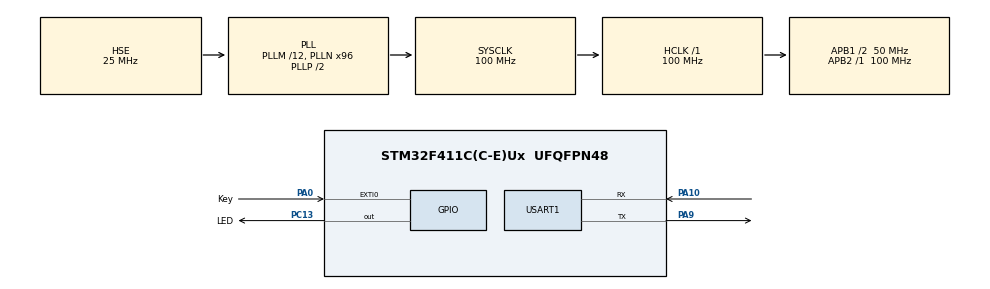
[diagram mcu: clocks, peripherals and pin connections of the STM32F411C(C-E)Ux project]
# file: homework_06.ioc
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FREERTOS.Tasks01=defaultTask,24,128,StartDefaultTask,Default,NULL,Dynamic,NULL,NULL
Mcu.Family=STM32F4
Mcu.Name=STM32F411C(C-E)Ux
Mcu.Package=UFQFPN48
NVIC.EXTI0_IRQn=true\:5\:0\:false\:false\:true\:true\:true\:true\:true
NVIC.PriorityGroup=NVIC_PRIORITYGROUP_4
NVIC.TIM1_UP_TIM10_IRQn=true\:15\:0\:false\:false\:true\:false\:false\:true\:true
NVIC.TIM2_IRQn=true\:5\:0\:false\:false\:true\:true\:true\:true\:true
NVIC.TimeBase=TIM1_UP_TIM10_IRQn
NVIC.TimeBaseIP=TIM1
PA0-WKUP.GPIO_Label=Key
PA0-WKUP.GPIO_ModeDefaultEXTI=GPIO_MODE_IT_FALLING
PA0-WKUP.GPIO_PuPd=GPIO_PULLUP
PA0-WKUP.Signal=GPXTI0
PA10.Mode=Asynchronous
PA10.Signal=USART1_RX
PA13.Mode=Serial_Wire
PA13.Signal=SYS_JTMS-SWDIO
PA14.Mode=Serial_Wire
PA14.Signal=SYS_JTCK-SWCLK
PA9.Mode=Asynchronous
PA9.Signal=USART1_TX
PC13-ANTI_TAMP.GPIO_Label=LED
PC13-ANTI_TAMP.Signal=GPIO_Output
PC14-OSC32_IN.Mode=LSE-External-Oscillator
PC14-OSC32_IN.Signal=RCC_OSC32_IN
PC15-OSC32_OUT.Mode=LSE-External-Oscillator
PC15-OSC32_OUT.Signal=RCC_OSC32_OUT
PH0\ -\ OSC_IN.Mode=HSE-External-Oscillator
PH0\ -\ OSC_IN.Signal=RCC_OSC_IN
PH1\ -\ OSC_OUT.Mode=HSE-External-Oscillator
PH1\ -\ OSC_OUT.Signal=RCC_OSC_OUT
ProjectManager.HeapSize=0x200
ProjectManager.StackSize=0x400
ProjectManager.TargetToolchain=MDK-ARM V5.32
RCC.48MHZClocksFreq_Value=50000000
RCC.AHBFreq_Value=100000000
RCC.APB1CLKDivider=RCC_HCLK_DIV2
RCC.APB1Freq_Value=50000000
RCC.APB1TimFreq_Value=100000000
RCC.APB2Freq_Value=100000000
RCC.APB2TimFreq_Value=100000000
RCC.CortexFreq_Value=100000000
RCC.HCLKFreq_Value=100000000
RCC.HSE_VALUE=25000000
RCC.HSI_VALUE=16000000
RCC.PLLM=12
RCC.PLLN=96
RCC.PLLSourceVirtual=RCC_PLLSOURCE_HSE
RCC.SYSCLKFreq_VALUE=100000000
RCC.SYSCLKSource=RCC_SYSCLKSOURCE_PLLCLK
RCC.VCOOutputFreq_Value=200000000
TIM2.AutoReloadPreload=TIM_AUTORELOAD_PRELOAD_ENABLE
TIM2.Period=1000-1
TIM2.Prescaler=10000-1
USART1.VirtualMode=VM_ASYNC
VP_FREERTOS_VS_CMSIS_V2.Mode=CMSIS_V2
VP_SYS_VS_tim1.Mode=TIM1
VP_TIM2_VS_ClockSourceINT.Mode=Internal
board=custom

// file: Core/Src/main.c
/* USER CODE BEGIN Header */
/**
  ******************************************************************************
  * @file           : main.c
  * @brief          : Main program body
  ******************************************************************************
  * @attention
  *
  * Copyright (c) 2024 STMicroelectronics.
  * All rights reserved.
  *
  * This software is licensed under terms that can be found in the LICENSE file
  * in the root directory of this software component.
  * If no LICENSE file comes with this software, it is provided AS-IS.
  *
  ******************************************************************************
  */
/* USER CODE END Header */
#include "main.h"
#include "cmsis_os.h"

/* USER CODE BEGIN Includes */
#include <stdio.h>
#include "bsp_led.h"
#include "bsp_key_irq.h"
/* USER CODE END Includes */

TIM_HandleTypeDef htim2;

UART_HandleTypeDef huart1;

/* Definitions for defaultTask */
osThreadId_t defaultTaskHandle;
const osThreadAttr_t defaultTask_attributes = {
  .name = "defaultTask",
  .stack_size = 128 * 4,
  .priority = (osPriority_t) osPriorityNormal,
};

void SystemClock_Config(void);
static void MX_GPIO_Init(void);
static void MX_USART1_UART_Init(void);
static void MX_TIM2_Init(void);
void StartDefaultTask(void *argument);

/* USER CODE BEGIN PFP */
 #ifdef __GNUC__
     #define PUTCHAR_PROTOTYPE int _io_putchar(int ch)
 #else
     #define PUTCHAR_PROTOTYPE int fputc(int ch, FILE *f)
 #endif /* __GNUC__*/

 /******************************************************************
     *@brief  Retargets the C library printf  function to the USART.
     *@param  None
     *@retval None
 ******************************************************************/
 PUTCHAR_PROTOTYPE
 {

     HAL_UART_Transmit(&huart1, (uint8_t *)&ch,1,0xFFFF);

     return ch;
 }

/**
  * @brief  key thread function
  * @param  void * argument
  * @retval void
*/

/* USER CODE END PFP */

int main(void)
{

  /* MCU Configuration--------------------------------------------------------*/

  /* Reset of all peripherals, Initializes the Flash interface and the Systick. */
  HAL_Init();

  /* Configure the system clock */
  SystemClock_Config();

  /* Initialize all configured peripherals */
  MX_GPIO_Init();
  MX_USART1_UART_Init();
  MX_TIM2_Init();
  /* USER CODE BEGIN 2 */
	HAL_TIM_Base_Start_IT(&htim2);
  /* USER CODE END 2 */

  /* Init scheduler */
  osKernelInitialize();

  /* Create the thread(s) */
  /* creation of defaultTask */
  defaultTaskHandle = osThreadNew(StartDefaultTask, NULL, &defaultTask_attributes);

  /* USER CODE BEGIN RTOS_THREADS */
  /* add threads, ... */
  key_TaskHandle = osThreadNew(key_task_func, NULL, &key_Task_attributes);
  led_TaskHandle = osThreadNew(led_task_func, NULL, &led_Task_attributes);
  /* USER CODE END RTOS_THREADS */

  /* Start scheduler */
  osKernelStart();

  /* We should never get here as control is now taken by the scheduler */

  /* Infinite loop */
  while (1)
  {

  }
}

void SystemClock_Config(void)
{
  RCC_OscInitTypeDef RCC_OscInitStruct = {0};
  RCC_ClkInitTypeDef RCC_ClkInitStruct = {0};

  /** Configure the main internal regulator output voltage
  */
  __HAL_RCC_PWR_CLK_ENABLE();
  __HAL_PWR_VOLTAGESCALING_CONFIG(PWR_REGULATOR_VOLTAGE_SCALE1);

  /** Initializes the RCC Oscillators according to the specified parameters
  * in the RCC_OscInitTypeDef structure.
  */
  RCC_OscInitStruct.OscillatorType = RCC_OSCILLATORTYPE_HSE;
  RCC_OscInitStruct.HSEState = RCC_HSE_ON;
  RCC_OscInitStruct.PLL.PLLState = RCC_PLL_ON;
  RCC_OscInitStruct.PLL.PLLSource = RCC_PLLSOURCE_HSE;
  RCC_OscInitStruct.PLL.PLLM = 12;
  RCC_OscInitStruct.PLL.PLLN = 96;
  RCC_OscInitStruct.PLL.PLLP = RCC_PLLP_DIV2;
  RCC_OscInitStruct.PLL.PLLQ = 4;
  if (HAL_RCC_OscConfig(&RCC_OscInitStruct) != HAL_OK)
  {
    Error_Handler();
  }

  /** Initializes the CPU, AHB and APB buses clocks
  */
  RCC_ClkInitStruct.ClockType = RCC_CLOCKTYPE_HCLK|RCC_CLOCKTYPE_SYSCLK
                              |RCC_CLOCKTYPE_PCLK1|RCC_CLOCKTYPE_PCLK2;
  RCC_ClkInitStruct.SYSCLKSource = RCC_SYSCLKSOURCE_PLLCLK;
  RCC_ClkInitStruct.AHBCLKDivider = RCC_SYSCLK_DIV1;
  RCC_ClkInitStruct.APB1CLKDivider = RCC_HCLK_DIV2;
  RCC_ClkInitStruct.APB2CLKDivider = RCC_HCLK_DIV1;

  if (HAL_RCC_ClockConfig(&RCC_ClkInitStruct, FLASH_LATENCY_3) != HAL_OK)
  {
    Error_Handler();
  }
}

static void MX_TIM2_Init(void)
{

  TIM_ClockConfigTypeDef sClockSourceConfig = {0};
  TIM_MasterConfigTypeDef sMasterConfig = {0};

  htim2.Instance = TIM2;
  htim2.Init.Prescaler = 10000-1;
  htim2.Init.CounterMode = TIM_COUNTERMODE_UP;
  htim2.Init.Period = 1000-1;
  htim2.Init.ClockDivision = TIM_CLOCKDIVISION_DIV1;
  htim2.Init.AutoReloadPreload = TIM_AUTORELOAD_PRELOAD_ENABLE;
  if (HAL_TIM_Base_Init(&htim2) != HAL_OK)
  {
    Error_Handler();
  }
  sClockSourceConfig.ClockSource = TIM_CLOCKSOURCE_INTERNAL;
  if (HAL_TIM_ConfigClockSource(&htim2, &sClockSourceConfig) != HAL_OK)
  {
    Error_Handler();
  }
  sMasterConfig.MasterOutputTrigger = TIM_TRGO_RESET;
  sMasterConfig.MasterSlaveMode = TIM_MASTERSLAVEMODE_DISABLE;
  if (HAL_TIMEx_MasterConfigSynchronization(&htim2, &sMasterConfig) != HAL_OK)
  {
    Error_Handler();
  }

}

static void MX_USART1_UART_Init(void)
{

  huart1.Instance = USART1;
  huart1.Init.BaudRate = 115200;
  huart1.Init.WordLength = UART_WORDLENGTH_8B;
  huart1.Init.StopBits = UART_STOPBITS_1;
  huart1.Init.Parity = UART_PARITY_NONE;
  huart1.Init.Mode = UART_MODE_TX_RX;
  huart1.Init.HwFlowCtl = UART_HWCONTROL_NONE;
  huart1.Init.OverSampling = UART_OVERSAMPLING_16;
  if (HAL_UART_Init(&huart1) != HAL_OK)
  {
    Error_Handler();
  }

}

static void MX_GPIO_Init(void)
{
  GPIO_InitTypeDef GPIO_InitStruct = {0};

  /* GPIO Ports Clock Enable */
  __HAL_RCC_GPIOC_CLK_ENABLE();
  __HAL_RCC_GPIOH_CLK_ENABLE();
  __HAL_RCC_GPIOA_CLK_ENABLE();

  /*Configure GPIO pin Output Level */
  HAL_GPIO_WritePin(LED_GPIO_Port, LED_Pin, GPIO_PIN_RESET);

  /*Configure GPIO pin : LED_Pin */
  GPIO_InitStruct.Pin = LED_Pin;
  GPIO_InitStruct.Mode = GPIO_MODE_OUTPUT_PP;
  GPIO_InitStruct.Pull = GPIO_NOPULL;
  GPIO_InitStruct.Speed = GPIO_SPEED_FREQ_LOW;
  HAL_GPIO_Init(LED_GPIO_Port, &GPIO_InitStruct);

  /*Configure GPIO pin : Key_Pin */
  GPIO_InitStruct.Pin = Key_Pin;
  GPIO_InitStruct.Mode = GPIO_MODE_IT_FALLING;
  GPIO_InitStruct.Pull = GPIO_PULLUP;
  HAL_GPIO_Init(Key_GPIO_Port, &GPIO_InitStruct);

  /* EXTI interrupt init*/
  HAL_NVIC_SetPriority(EXTI0_IRQn, 5, 0);
  HAL_NVIC_EnableIRQ(EXTI0_IRQn);

}

void StartDefaultTask(void *argument)
{
  /* USER CODE BEGIN 5 */
    /*********************APP Task**********************************************/
    /**     Variables (in stack)            */
		led_operation_t    led_value     =   LED_ON;
    led_operation_t    led_ops_event =   LED_INITED_VALUE;
    /**     Variables (in stack)            */
  /* Infinite loop */
	osDelay(500);
		key_press_status_t key_result= KEY_SHORT_PRESSED;

 #if 0 //blink 1 times

	  if(NULL == led_queue){
				printf("led_queue not created at [%d] tick \r\n",HAL_GetTick());
		}

    HAL_Delay(600);

 #endif

  for(;;)
  {
    printf("APP task is living\r\n");

		//1.if the key is pressed with short time
					if( pdTRUE == xQueueReceive(              key_queue,
																									&(key_result ),
                                              ( TickType_t ) 0 ) )
		{
		//1.1 toggle the LED
		printf("receive keyresult successfully");
		//2.if the key is pressed with long time
		if(KEY_SHORT_PRESSED == key_result){
			led_value = LED_BLINK_1_TIMES;
		}
		if(KEY_LONG_PRESSED == key_result){
			led_value = LED_BLINK_10_TIMES;
		}
		if( pdTRUE == xQueueSendToFront(                led_queue,
                                               &( led_value ),
                                        ( TickType_t ) 0 ) ){
				printf("led_queue send led_value successfully at [%d] tick\r\n",
																										HAL_GetTick());
		  }
		//2.1 the led will blink with 3 times
    osDelay(100);
  }
}
    /*********************APP Task**********************************************/
  /* USER CODE END 5 */
}

void HAL_TIM_PeriodElapsedCallback(TIM_HandleTypeDef *htim)
{
  if (htim->Instance == TIM1) {
    HAL_IncTick();
  }
  /* USER CODE BEGIN Callback 1 */
  if (htim->Instance == TIM2) {
    led_callback_in_timer();
  }
  /* USER CODE END Callback 1 */
}

void Error_Handler(void)
{
  __disable_irq();
  while (1)
  {
  }
}
